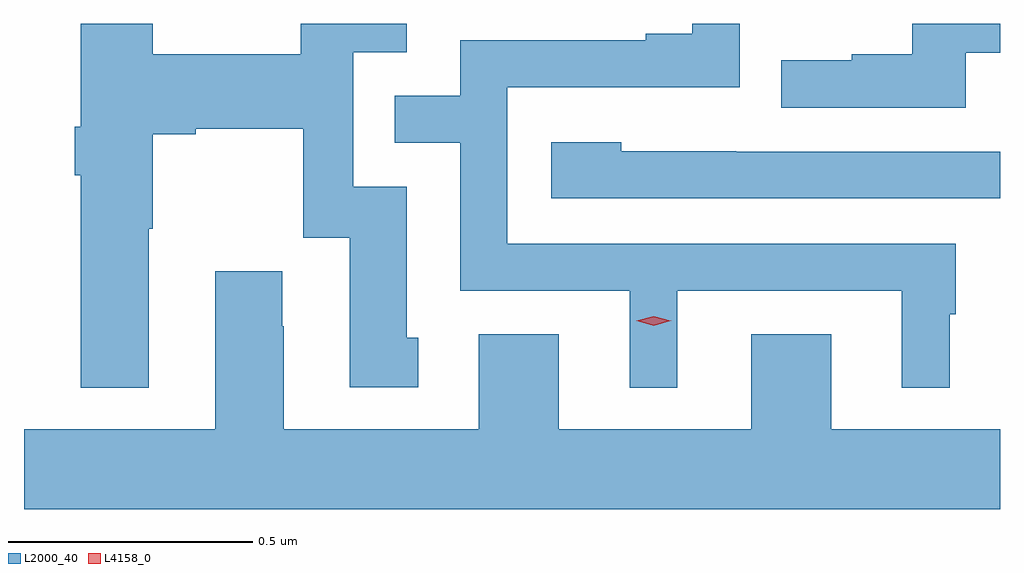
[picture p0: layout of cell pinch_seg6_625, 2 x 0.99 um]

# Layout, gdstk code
import gdstk
lib = gdstk.Library(unit=1e-6, precision=1e-09)
def P(c, l, *ps):  # polygons
    for p in ps: c.add(gdstk.Polygon(p, *l))
L2000_40 = (2000, 40)
L4158_0 = (4158, 0)

pinch_seg6_625 = lib.new_cell('pinch_seg6_625')
P(pinch_seg6_625, L2000_40, [(413.767,991.867),(413.775,991.867),(413.775,992.06),(413.863,992.06),(413.863,992.072),(414.083,992.072),(414.083,991.848),(414.179,991.848),(414.179,991.542),(414.319,991.542),(414.319,991.644),(414.295,991.644),(414.295,991.953),(414.186,991.953),(414.186,992.229),(414.295,992.229),(414.295,992.287),(414.078,992.287),(414.078,992.224),(413.775,992.224),(413.775,992.287),(413.627,992.287),(413.627,992.076),(413.615,992.076),(413.615,991.976),(413.627,991.976),(413.627,991.541),(413.767,991.541)],
  [(415.441,992.228),(415.511,992.228),(415.511,992.287),(415.331,992.287),(415.331,992.224),(415.207,992.224),(415.207,992.212),(415.063,992.212),(415.063,992.115),(415.441,992.115)],
  [(414.85,991.74),(415.31,991.74),(415.31,991.541),(415.408,991.541),(415.408,991.692),(415.42,991.692),(415.42,991.836),(414.501,991.836),(414.501,992.157),(414.978,992.157),(414.978,992.287),(414.88,992.287),(414.88,992.266),(414.785,992.266),(414.785,992.253),(414.405,992.253),(414.405,992.139),(414.271,992.139),(414.271,992.043),(414.405,992.043),(414.405,991.74),(414.752,991.74),(414.752,991.541),(414.85,991.541)],
  [(415.511,992.025),(414.971,992.025),(414.971,992.026),(414.735,992.026),(414.735,992.044),(414.591,992.044),(414.591,991.929),(415.511,991.929)],
  [(415.511,991.456),(415.165,991.456),(415.165,991.651),(415.001,991.651),(415.001,991.456),(414.607,991.456),(414.607,991.651),(414.443,991.651),(414.443,991.456),(414.043,991.456),(414.043,991.667),(414.04,991.667),(414.04,991.78),(413.903,991.78),(413.903,991.456),(413.511,991.456),(413.511,991.292),(415.511,991.292)])
P(pinch_seg6_625, L4158_0, [(414.801,991.668),(414.766,991.678),(414.765,991.678),(414.766,991.678),(414.801,991.688),(414.836,991.678),(414.837,991.678),(414.836,991.678)])

lib.write_gds('pinch_seg6_625.gds')
